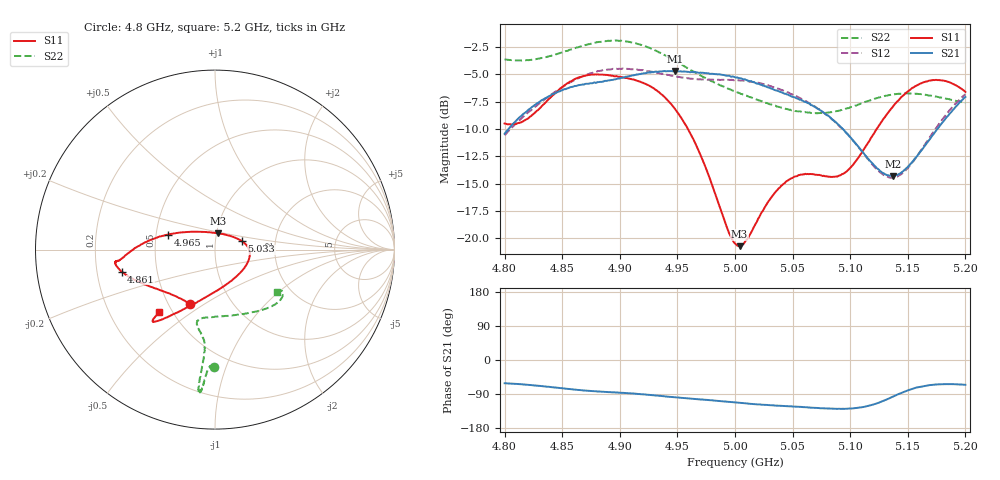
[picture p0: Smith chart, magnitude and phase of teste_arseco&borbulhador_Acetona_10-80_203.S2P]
! Network Analyzer HP8722D
! Hewlett-Packard
! Data name: Linha & Wilkinson
! Saver's name: Rodrigo Anjos
! Comments: Teste da utilização de aquisição
! continua pelo VNA HP8722D
! Time and date: 17/4/2025 16:03
!  Frequency  S11  S21  S12  S22
# HZ  S  MA R 50
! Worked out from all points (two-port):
!   401 points, 4.8 GHz to 5.2 GHz, reference 50 ohm
!   highest |S21| = -4.70 dB at 4.948 GHz (marker M1); lowest = -14.3 dB at 5.137 GHz (marker M2)
!   |S21| within 3 dB of the highest: 4.828 GHz to 5.065 GHz (237 MHz wide, 4.79 % of centre); 5.194023 GHz to end of sweep
!   lowest |S11| = -20.7 dB at 5.004 GHz (marker M3), VSWR 1.20, Z = 50.7 + j9.28 ohm
!   |S11| at or under -10 dB: 4.959 GHz to 5.123 GHz (164 MHz wide, 3.25 % of centre)
!   |S22| runs from -8.6 to -1.9 dB; largest |S21 - S12| = 0.87
!   S11 on the Smith chart (normalised r, x): 4.8 GHz: 0.64, -0.44; 4.861 GHz: 0.31, -0.11; 4.965 GHz: 0.58, +0.10; 5.033 GHz: 1.35, +0.13; 5.2 GHz: 0.43, -0.38
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4.8e9  0.3349 -114.8  0.3004 -61.4  0.2959 -175.7  0.6566 -90.7
4.819e9  0.3502 -134.9  0.3794 -65.1  0.3699 -174.9  0.6528 -92.5
4.861e9  0.5346 -166.7  0.497 -78.3  0.5295 -178.1  0.7396 -94.8
4.867e9  0.5488 -169.0  0.5036 -79.8  0.5469 -179.4  0.7572 -94.9
4.9e9  0.5476 -173.4  0.5377 -86.3  0.5955 174.3  0.7988 -96.4
4.934e9  0.4658 -179.3  0.5789 -94.6  0.5705 171.0  0.7076 -96.6
4.948e9  0.3904 174.0  0.5819 -98.4  0.5505 171.2  0.6474 -96.4
4.965e9  0.2755 162.3  0.5764 -102.9  0.5349 172.9  0.5739 -95.9
4.993e9  0.112 118.7  0.5531 -110.0  0.5299 175.2  0.4865 -98.5
5e9  0.09458 95.4  0.5453 -112.1  0.5297 175.3  0.4689 -99.8
5.004e9  0.09199 80.7  0.5402 -112.8  0.5272 175.1  0.4609 -100.7
5.011e9  0.09978 57.0  0.5269 -114.8  0.5226 174.9  0.4467 -102.3
5.033e9  0.1575 17.3  0.4805 -119.6  0.4913 173.8  0.407 -103.6
5.049e9  0.1878 1.3  0.445 -122.4  0.4562 173.2  0.3847 -99.5
5.067e9  0.1964 -17.9  0.4055 -125.8  0.4078 172.7  0.3736 -89.5
5.097e9  0.2021 -70.4  0.3015 -128.6  0.302 174.6  0.3925 -66.1
5.122e9  0.3103 -108.9  0.2125 -115.6  0.2094 -170.2  0.4354 -49.0
5.134e9  0.3814 -118.4  0.1933 -101.0  0.1895 -153.8  0.4517 -43.0
5.137e9  0.3995 -120.2  0.1925 -96.9  0.1894 -149.0  0.4547 -41.8
5.15e9  0.4691 -125.9  0.2118 -80.2  0.209 -129.8  0.4595 -37.1
5.17e9  0.5271 -130.3  0.2878 -66.1  0.2944 -112.2  0.4489 -32.5
5.2e9  0.4668 -131.7  0.4429 -65.5  0.4553 -107.7  0.4162 -34.1
